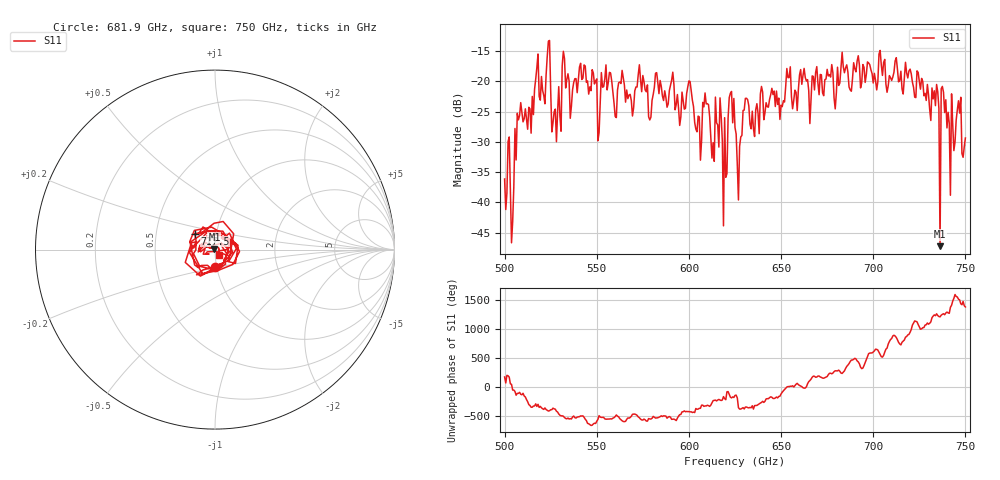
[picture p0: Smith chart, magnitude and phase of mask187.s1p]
!Created with skrf (http://scikit-rf.org).
# GHz S MA R 50.0
!freq magS11 angS11
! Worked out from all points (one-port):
!   401 points, 500 GHz to 750 GHz, reference 50 ohm
!   lowest |S11| = -47.2 dB at 736.2 GHz (marker M1), VSWR 1.01, Z = 49.7 + j0.307 ohm
!   |S11| at or under -10 dB: start of sweep to end of sweep
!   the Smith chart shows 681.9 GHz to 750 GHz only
!   S11 on the Smith chart (normalised r, x): 681.9 GHz: 0.99, -0.19; 717.5 GHz: 0.79, +0.14; 750 GHz: 1.04, -0.06
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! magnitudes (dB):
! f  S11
! 500 GHz  -36.1
! 504.4 GHz  -43.2
! 508.1 GHz  -25.6
! 513.1 GHz  -24.3
! 517.5 GHz  -17.7
! 523.8 GHz  -13.4
! 526.9 GHz  -25.0
! 531.2 GHz  -17.4
! 562.5 GHz  -20.1
! 593.8 GHz  -22.2
! 600.6 GHz  -20.0
! 605.6 GHz  -25.9
! 609.4 GHz  -23.7
! 619.4 GHz  -26.0
! 622.5 GHz  -22.0
! 625 GHz  -27.6
! 627.5 GHz  -30.7
! 630.6 GHz  -22.8
! 656.2 GHz  -24.5
! 681.9 GHz  -20.3
! 687.5 GHz  -21.4
! 717.5 GHz  -16.8
! 718.8 GHz  -19.4
! 736.2 GHz  -47.2
! 738.1 GHz  -21.8
! 740.6 GHz  -25.1
! 746.2 GHz  -23.2
! 750 GHz  -29.4
